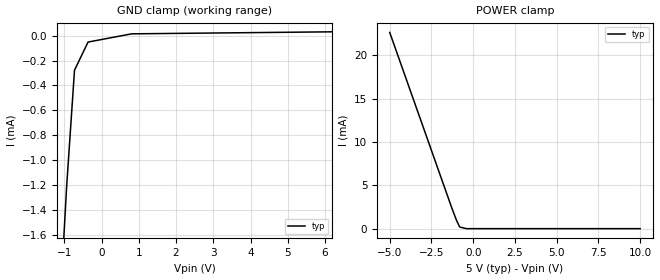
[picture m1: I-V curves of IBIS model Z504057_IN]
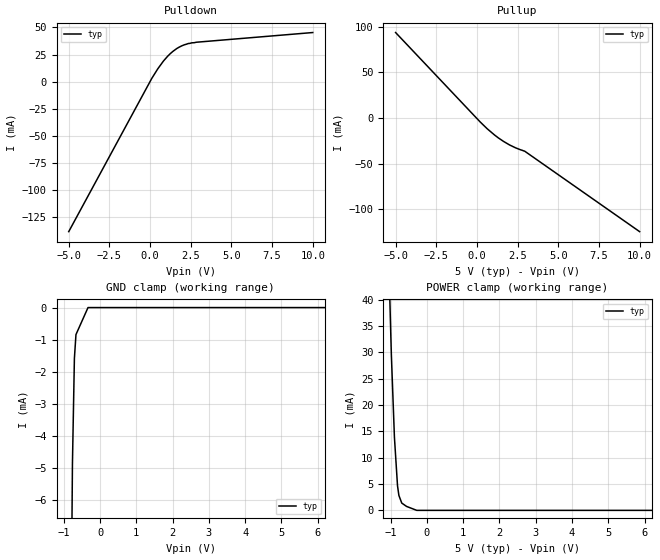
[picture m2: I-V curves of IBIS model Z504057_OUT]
| YOU ARE ONLY AUTHORIZED TO USE THIS SOFTWARE
| ACCORDING TO LICENSOR'S LICENSE RESTRICTIONS.
[IBIS Ver] 3.1
[File Name] mc54hc132aj.ibs
[File Rev] 2.0
[Source] Measured and created by ICX Technology
[Date] Friday 7/14/00 9:08:06 AM
[Copyright]
| (C) COPYRIGHT 1993-2000
| MENTOR GRAPHICS CORPORATION
| ICX STANDARD LIBRARY, ICX PROJECT MODELING,
| ICX CUSTOM MODELING, ICX VENDOR MODEL
| ALL RIGHTS RESERVED.
| THE FOLLOWING ARE TRADEMARKS OR SERVICE MARKS OF
| MENTOR GRAPHICS CORPORATION:ICX (R), ICX STANDARD
| LIBRARY(R), ICX PROJECT MODELING(R), ICX CUSTOM
| MODELING(R), qualityIBIS(TM), MODELVIEWER(TM),
| AND MODELEDITOR(TM)
| ALL COPIES OF SOFTWARE, INCLUDING BUT NOT LIMITED TO
| ANY MODIFICATIONS, ENHANCEMENTS OR DERIVATIVE WORKS,
| MUST CONTAIN ALL MENTOR GRAPHICS CORPORATION'S
| NOTICES AND LEGENDS, INCLUDING THOSE EMBEDDED IN
| SOFTWARE AND THOSE AFFIXED TO SOFTWARE MEDIUM
| AND CONTAINER, AS RECEIVED FROM MENTOR GRAPHICS
| CORPORATION.
|  ZAP Model Builder 2.7
[Component] MC54HC132AJ
[Manufacturer] OnSemiconductor
[Package]
| variable   typ   min   max
R_pkg  .21ohms NA NA
L_pkg  4.543nH NA NA
C_pkg  1.8pF NA NA
[Pin] signal_name  model_name  R_pin  L_pin C_pin
1 A Z504057_IN .22 6.757n 2.434p
2 B Z504057_IN .212 4.757n 1.941p
3 Y Z504057_OUT .204 3.257n 1.448p
4 A Z504057_IN .196 2.257n .955p
5 B Z504057_IN .204 3.257n 1.448p
6 Y Z504057_OUT .212 4.757n 1.941p
7 GND GND .22 6.757n 2.434p
8 Y Z504057_OUT .22 6.757n 2.434p
9 A Z504057_IN .212 4.757n 1.941p
10 B Z504057_IN .204 3.257n 1.448p
11 Y Z504057_OUT .196 2.257n .955p
12 A Z504057_IN .204 3.257n 1.448p
13 B Z504057_IN .212 4.757n 1.941p
14 VCC POWER .22 6.757n 2.434p
| Models and submodels in the file (2): Z504057_IN (Input), Z504057_OUT (Output)
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| (C) COPYRIGHT 1993-2000
| MENTOR GRAPHICS CORPORATION
| ICX STANDARD LIBRARY, ICX PROJECT MODELING,
| ICX CUSTOM MODELING, ICX VENDOR MODEL
| ALL RIGHTS RESERVED.
| THE FOLLOWING ARE TRADEMARKS OR SERVICE MARKS OF
| MENTOR GRAPHICS CORPORATION:ICX (R), ICX STANDARD
| LIBRARY(R), ICX PROJECT MODELING(R), ICX CUSTOM
| MODELING(R), qualityIBIS(TM), MODELVIEWER(TM),
| AND MODELEDITOR(TM)
| ALL COPIES OF SOFTWARE, INCLUDING BUT NOT LIMITED TO
| ANY MODIFICATIONS, ENHANCEMENTS OR DERIVATIVE WORKS,
| MUST CONTAIN ALL MENTOR GRAPHICS CORPORATION'S
| NOTICES AND LEGENDS, INCLUDING THOSE EMBEDDED IN
| SOFTWARE AND THOSE AFFIXED TO SOFTWARE MEDIUM
| AND CONTAINER, AS RECEIVED FROM MENTOR GRAPHICS
| CORPORATION.
| Model Application Version 1.89 2/18/99.
[Model] Z504057_IN
Model_type Input
Vinl = 1.000V
Vinh = 3.500V
C_comp 4.000pF NA NA
| variable typ   min   max
[Voltage Range] 5.000V NA NA
[GND Clamp Reference] 0.000V NA NA
[POWER Clamp Reference] 5.000V NA NA
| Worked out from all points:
|   GND clamp passes 1 mA (typ) near -0.89 V on its own axis
[GND Clamp]
-5V       -23.05mA   NA         NA
-936.9mV  -1.204mA   NA         NA
-727.3mV  -277.5uA   NA         NA
-363.6mV  -51.43uA   NA         NA
806.7mV   14.58uA    NA         NA
10V       42.32uA    NA         NA
[POWER Clamp]
-5V       22.63mA    NA         NA
-1.284V   2.403mA    NA         NA
-1.001V   967.3uA    NA         NA
-809mV    190.9uA    NA         NA
-404.5mV  0A         NA         NA
10V       0A         NA         NA
| (C) COPYRIGHT 1993-2000
| MENTOR GRAPHICS CORPORATION
| ICX STANDARD LIBRARY, ICX PROJECT MODELING,
| ICX CUSTOM MODELING, ICX VENDOR MODEL
| ALL RIGHTS RESERVED.
| THE FOLLOWING ARE TRADEMARKS OR SERVICE MARKS OF
| MENTOR GRAPHICS CORPORATION:ICX (R), ICX STANDARD
| LIBRARY(R), ICX PROJECT MODELING(R), ICX CUSTOM
| MODELING(R), qualityIBIS(TM), MODELVIEWER(TM),
| AND MODELEDITOR(TM)
| ALL COPIES OF SOFTWARE, INCLUDING BUT NOT LIMITED TO
| ANY MODIFICATIONS, ENHANCEMENTS OR DERIVATIVE WORKS,
| MUST CONTAIN ALL MENTOR GRAPHICS CORPORATION'S
| NOTICES AND LEGENDS, INCLUDING THOSE EMBEDDED IN
| SOFTWARE AND THOSE AFFIXED TO SOFTWARE MEDIUM
| AND CONTAINER, AS RECEIVED FROM MENTOR GRAPHICS
| CORPORATION.
| Model Application Version 1.89 2/18/99.
[Model] Z504057_OUT
Model_type Output
Vref=0.000V
Rref=500.0Mohms
Cref=50.00pF
Vmeas=2.500V
C_comp 8.000pF NA NA
| variable typ   min   max
[Voltage Range] 5.000V NA NA
[POWER Clamp Reference] 5.000V NA NA
[Pullup Reference] 5.000V NA NA
[Pulldown Reference] 0.000V NA NA
[GND Clamp Reference] 0.000V NA NA
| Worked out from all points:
|   slope of the pulldown table from 0 to 0.75 V, typ, clamps not added: 43 ohm
|   slope of the pullup table from 0 to 0.75 V, typ, clamps not added: 57.5 ohm
|   GND clamp passes 1 mA (typ) near -0.67 V on its own axis
|   POWER clamp passes 1 mA (typ) near -0.61 V on its own axis
[GND Clamp]
-5V       -580.1mA   NA         NA
-761.1mV  -4.866mA   NA         NA
-707.3mV  -1.586mA   NA         NA
-664.1mV  -842uA     NA         NA
-332mV    0A         NA         NA
10V       0A         NA         NA
[Pulldown]
-5V       -138.4mA   NA         NA
103.5mV   2.904mA    NA         NA
473.7mV   11.77mA    NA         NA
825.7mV   19.02mA    NA         NA
1.396V    27.79mA    NA         NA
1.946V    32.97mA    NA         NA
2.561V    35.75mA    NA         NA
10V       45.26mA    NA         NA
[Pullup]
-5V       93.81mA    NA         NA
200mV     -4.389mA   NA         NA
1.08V     -18.66mA   NA         NA
2.007V    -29.63mA   NA         NA
2.935V    -36.45mA   NA         NA
10V       -124.8mA   NA         NA
[POWER Clamp]
-5V       1.037A     NA         NA
-981mV    29.64mA    NA         NA
-896mV    13.89mA    NA         NA
-811mV    4.668mA    NA         NA
-773mV    2.835mA    NA         NA
-694mV    1.387mA    NA         NA
-562mV    749.8uA    NA         NA
-281mV    0A         NA         NA
10V       0A         NA         NA
[Ramp]
| variable typ min max
dV/dt_r 2.719/744.3p NA NA
dV/dt_f 2.719/809.1p NA NA
R_load = 500.0Ohms
